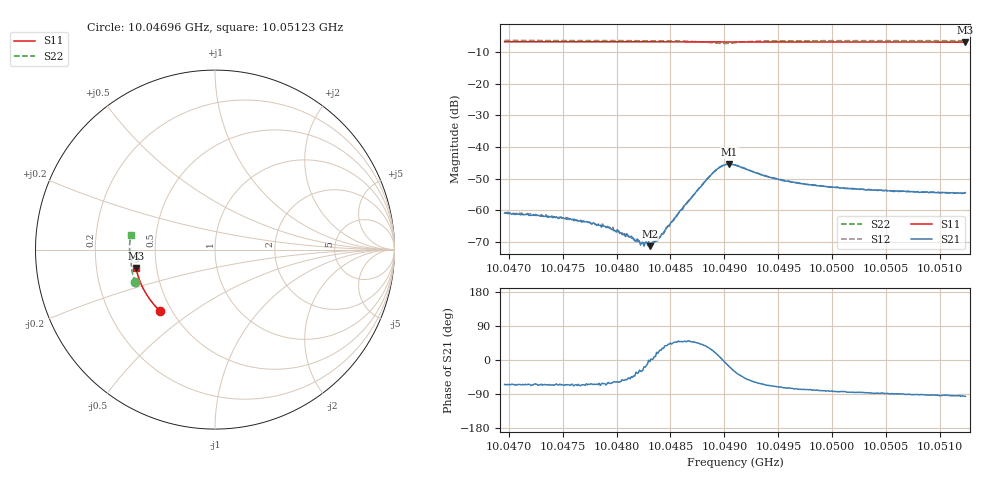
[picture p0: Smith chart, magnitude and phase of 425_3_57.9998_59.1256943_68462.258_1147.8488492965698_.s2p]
#  HZ  S  RI  R  50.00
! Rohde & Schwarz Vector Network Analyzer
! Rohde-Schwarz,ZNB20-2Port,1311601062101988,3.16
! Created: UTC 3/21/2024, 1:09:19 AM
! freq[Hz]  re:S11  im:S11  re:S21  im:S21  re:S12  im:S12  re:S22  im:S22
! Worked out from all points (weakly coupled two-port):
!   401 points, 10.04696 GHz to 10.05123 GHz, reference 50 ohm
!   highest |S21| = -45.51 dB at 10.04904 GHz (marker M1); lowest = -71.4 dB at 10.04831 GHz (marker M2)
!   lowest |S11| = -6.9 dB at 10.05123 GHz (marker M3), VSWR 2.65, Z = 19.1 - j4.96 ohm
!   |S11| at or under -10 dB: nowhere
!   |S22| runs from -7.3 to -6.4 dB; largest |S21 - S12| = 0.00036
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1.0046962e10  -0.3047 -0.3441  0.000388 -0.000814  0.00044 -0.000791  -0.4439 -0.1823
1.0047186e10  -0.3153 -0.3338  0.00036 -0.000743  0.000413 -0.000771  -0.449 -0.1679
1.0047496e10  -0.3294 -0.319  0.00032 -0.000682  0.000331 -0.000671  -0.4555 -0.1477
1.0047678e10  -0.3373 -0.31  0.000267 -0.000587  0.00031 -0.000602  -0.4588 -0.1355
1.0047891e10  -0.3464 -0.299  0.000256 -0.000494  0.000291 -0.000476  -0.4621 -0.1206
1.0048062e10  -0.3533 -0.2902  0.000245 -0.000331  0.000272 -0.000315  -0.4645 -0.1083
1.0048116e10  -0.3556 -0.2875  0.000263 -0.000281  0.000269 -0.000259  -0.465 -0.1044
1.0048233e10  -0.3602 -0.2811  0.000267 -0.000154  0.000265 -0.00013  -0.4662 -0.0958
1.0048308e10  -0.363 -0.2774  0.000269 -2.01e-05  0.000307 8.42e-06  -0.4666 -0.0897
1.0048361e10  -0.3651 -0.2744  0.000317 5.18e-05  0.000317 7.91e-05  -0.4669 -0.0852
1.0048393e10  -0.3663 -0.2727  0.000339 0.000145  0.000329 0.000159  -0.4669 -0.0825
1.004865e10  -0.3757 -0.2586  0.000852 0.000961  0.000784 0.00101  -0.4632 -0.0587
1.0048863e10  -0.383 -0.2465  0.00294 0.00172  0.00285 0.00192  -0.4433 -0.0407
1.0048959e10  -0.386 -0.2414  0.00473 0.00061  0.00475 0.000903  -0.4281 -0.0477
1.0049002e10  -0.3872 -0.239  0.00517 -0.000437  0.0052 -0.00013  -0.4259 -0.0557
1.0049045e10  -0.3887 -0.2366  0.00507 -0.00158  0.00519 -0.00129  -0.4286 -0.0638
1.0049098e10  -0.3905 -0.2336  0.00443 -0.00265  0.00461 -0.00241  -0.4366 -0.0697
1.0049429e10  -0.4009 -0.2146  0.00121 -0.00304  0.00144 -0.00298  -0.4688 -0.0476
1.0049814e10  -0.4118 -0.1917  0.000454 -0.00244  0.000594 -0.00244  -0.4753 -0.0154
1.0050092e10  -0.4188 -0.1748  0.000276 -0.00223  0.000383 -0.0022  -0.4763 0.00507
1.005053e10  -0.4283 -0.1479  2.34e-05 -0.00203  0.000166 -0.00205  -0.4751 0.036
1.0051235e10  -0.44 -0.1033  -0.000199 -0.00188  -7.12e-05 -0.00184  -0.4691 0.0832
